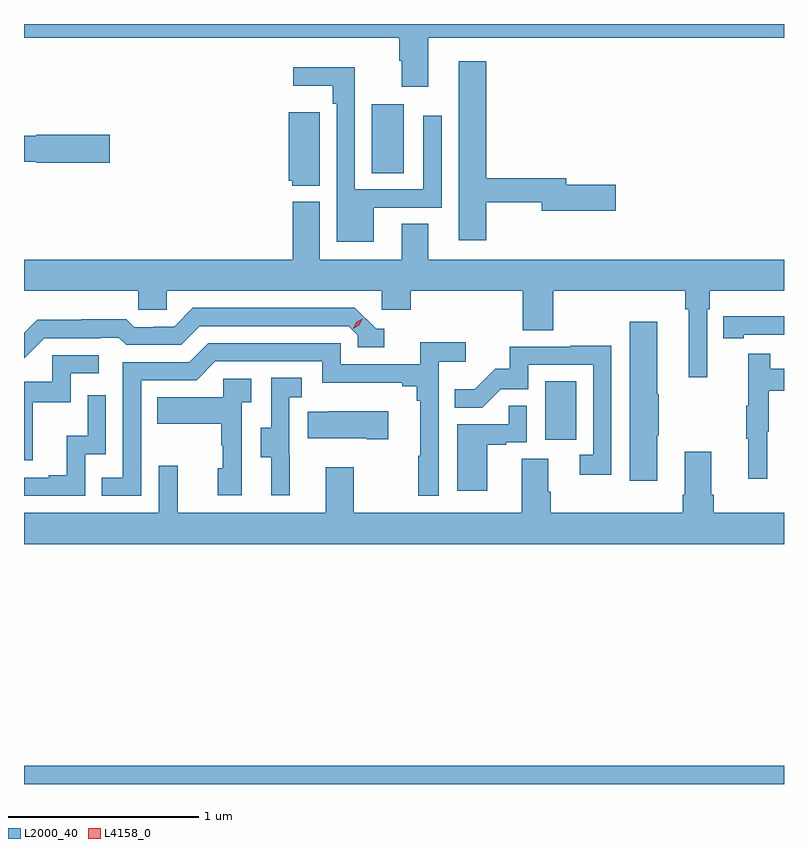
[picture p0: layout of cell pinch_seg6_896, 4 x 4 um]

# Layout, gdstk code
import gdstk
lib = gdstk.Library(unit=1e-6, precision=1e-09)
def R(c, l, rs):  # rectangles x0, y0, x1, y1
    for r in rs: c.add(gdstk.rectangle(r[:2], r[2:], *l))
def P(c, l, *ps):  # polygons
    for p in ps: c.add(gdstk.Polygon(p, *l))
L2000_40 = (2000, 40)
L4158_0 = (4158, 0)

pinch_seg6_896 = lib.new_cell('pinch_seg6_896')
R(pinch_seg6_896, L2000_40, [(371.965,922.097,375.965,922.192), (374.708,923.91,374.872,924.217), (373.796,925.312,373.963,925.675)])
P(pinch_seg6_896, L2000_40, [(374.092,926.024),(375.965,926.024),(375.965,926.097),(371.965,926.097),(371.965,926.024),(373.94,926.024),(373.94,925.904),(373.952,925.904),(373.952,925.767),(374.092,925.767)],
  [(374.399,925.158),(374.69,925.158),(374.69,925.115),(375.079,925.115),(375.079,925.25),(374.818,925.25),(374.818,925.286),(374.399,925.286),(374.399,925.9),(374.252,925.9),(374.252,924.96),(374.399,924.96)],
  [(373.807,925.131),(374.163,925.131),(374.163,925.615),(374.067,925.615),(374.067,925.227),(373.707,925.227),(373.707,925.87),(373.383,925.87),(373.383,925.772),(373.591,925.772),(373.591,925.676),(373.611,925.676),(373.611,924.95),(373.807,924.95)],
  [(373.522,925.633),(373.358,925.633),(373.358,925.272),(373.377,925.272),(373.377,925.247),(373.522,925.247)],
  [(372.415,925.514),(372.03,925.514),(372.03,925.508),(371.965,925.508),(371.965,925.372),(372.03,925.372),(372.03,925.367),(372.415,925.367)],
  [(375.561,924.596),(375.575,924.596),(375.575,924.692),(375.965,924.692),(375.965,924.856),(374.092,924.856),(374.092,925.046),(373.952,925.046),(373.952,924.856),(373.522,924.856),(373.522,925.162),(373.379,925.162),(373.379,924.856),(371.965,924.856),(371.965,924.692),(372.567,924.692),(372.567,924.594),(372.717,924.594),(372.717,924.692),(373.848,924.692),(373.848,924.594),(374,924.594),(374,924.692),(374.591,924.692),(374.591,924.484),(374.751,924.484),(374.751,924.692),(375.445,924.692),(375.445,924.596),(375.464,924.596),(375.464,924.237),(375.561,924.237)],
  [(372.072,924.444),(372.365,924.444),(372.365,924.447),(372.464,924.447),(372.503,924.408),(372.792,924.408),(372.891,924.507),(373.674,924.507),(373.722,924.459),(373.722,924.396),(373.861,924.396),(373.861,924.492),(373.818,924.492),(373.707,924.603),(372.854,924.603),(372.755,924.504),(372.648,924.504),(372.648,924.501),(372.545,924.501),(372.503,924.544),(372.27,924.544),(372.27,924.541),(372.034,924.541),(371.965,924.472),(371.965,924.337)],
  [(375.754,924.462),(375.965,924.462),(375.965,924.559),(375.754,924.559),(375.754,924.558),(375.646,924.558),(375.646,924.442),(375.754,924.442)],
  [(375.298,923.932),(375.306,923.932),(375.306,924.149),(375.298,924.149),(375.298,924.529),(375.152,924.529),(375.152,923.694),(375.298,923.694)],
  [(372.582,924.222),(372.873,924.222),(372.972,924.321),(373.536,924.321),(373.536,924.209),(373.955,924.209),(373.955,924.19),(374.032,924.19),(374.032,924.113),(374.051,924.113),(374.051,923.825),(374.04,923.825),(374.04,923.613),(374.148,923.613),(374.148,924.32),(374.29,924.32),(374.29,924.422),(374.051,924.422),(374.051,924.306),(373.632,924.306),(373.632,924.417),(372.935,924.417),(372.836,924.318),(372.486,924.318),(372.486,923.709),(372.373,923.709),(372.373,923.613),(372.582,923.613)],
  [(375.057,924.404),(374.839,924.404),(374.839,924.399),(374.521,924.399),(374.521,924.282),(374.444,924.282),(374.337,924.175),(374.233,924.175),(374.233,924.076),(374.377,924.076),(374.475,924.174),(374.619,924.174),(374.619,924.303),(374.961,924.303),(374.961,923.829),(374.889,923.829),(374.889,923.724),(375.057,923.724)],
  [(375.878,923.952),(375.886,923.952),(375.886,924.166),(375.965,924.166),(375.965,924.282),(375.893,924.282),(375.893,924.361),(375.776,924.361),(375.776,924.089),(375.765,924.089),(375.765,923.915),(375.776,923.915),(375.776,923.703),(375.878,923.703)],
  [(372.011,924.105),(372.21,924.105),(372.21,924.258),(372.358,924.258),(372.358,924.354),(372.114,924.354),(372.114,924.213),(371.965,924.213),(371.965,923.802),(372.011,923.802)],
  [(373.364,923.829),(373.362,923.829),(373.362,924.133),(373.426,924.133),(373.426,924.236),(373.266,924.236),(373.266,923.973),(373.211,923.973),(373.211,923.818),(373.265,923.818),(373.265,923.616),(373.364,923.616)],
  [(373.11,924.107),(373.162,924.107),(373.162,924.231),(373.014,924.231),(373.014,924.133),(372.667,924.133),(372.667,923.993),(373.002,923.993),(373.002,923.879),(373.012,923.879),(373.012,923.76),(372.986,923.76),(372.986,923.616),(373.11,923.616)],
  [(372.288,923.832),(372.396,923.832),(372.396,924.142),(372.3,924.142),(372.3,923.93),(372.191,923.93),(372.191,923.722),(372.095,923.722),(372.095,923.709),(371.965,923.709),(371.965,923.613),(372.288,923.613)],
  [(374.404,923.883),(374.504,923.883),(374.504,923.895),(374.61,923.895),(374.61,924.089),(374.515,924.089),(374.515,923.991),(374.246,923.991),(374.246,923.64),(374.404,923.64)],
  [(373.882,924.058),(373.567,924.058),(373.567,924.055),(373.459,924.055),(373.459,923.918),(373.769,923.918),(373.769,923.911),(373.882,923.911)],
  [(375.965,923.524),(375.596,923.524),(375.596,923.62),(375.583,923.62),(375.583,923.845),(375.443,923.845),(375.443,923.62),(375.431,923.62),(375.431,923.524),(374.738,923.524),(374.738,923.636),(374.725,923.636),(374.725,923.81),(374.585,923.81),(374.585,923.524),(373.701,923.524),(373.701,923.764),(373.553,923.764),(373.553,923.524),(372.773,923.524),(372.773,923.773),(372.675,923.773),(372.675,923.524),(371.965,923.524),(371.965,923.36),(375.965,923.36)])
P(pinch_seg6_896, L4158_0, [(373.698,924.492),(373.698,924.493),(373.714,924.526),(373.745,924.546),(373.745,924.546),(373.745,924.546),(373.729,924.512),(373.699,924.492)])

lib.write_gds('pinch_seg6_896.gds')
